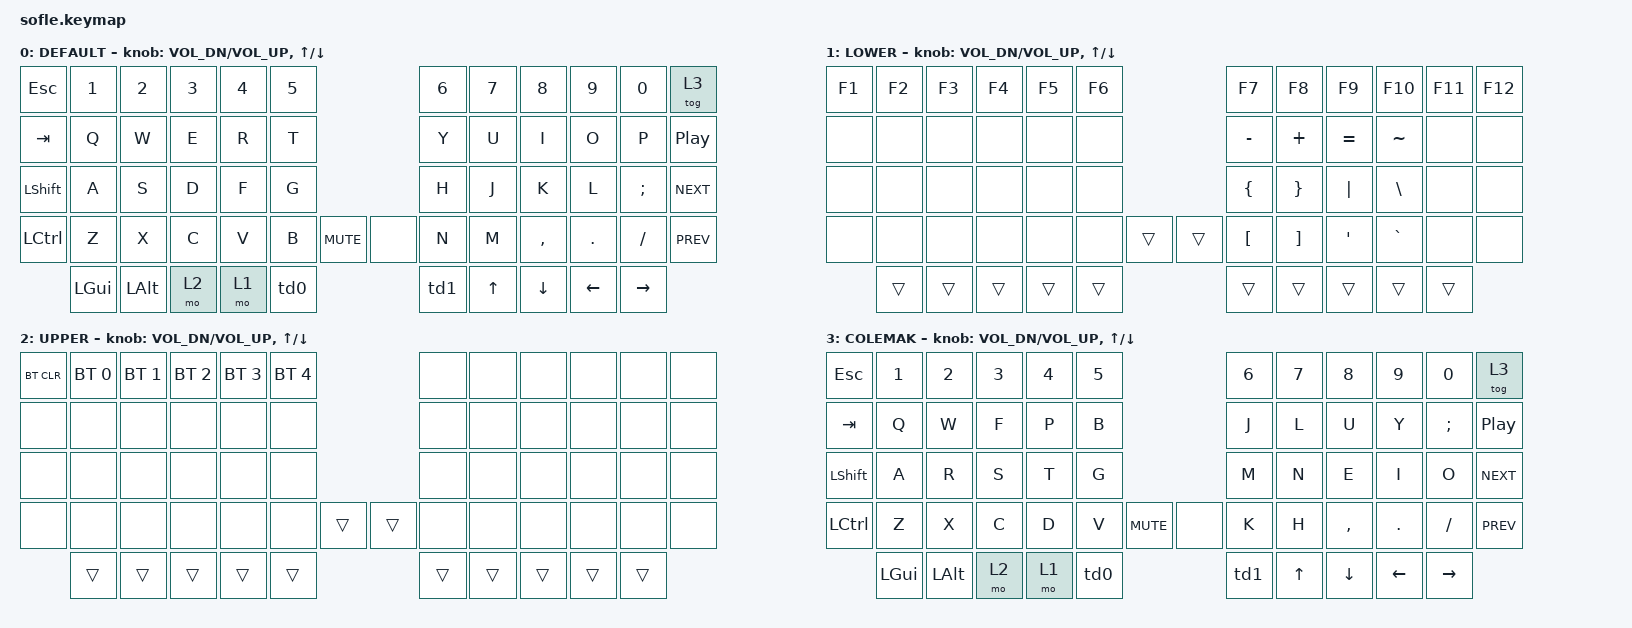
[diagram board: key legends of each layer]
/*
 * Copyright (c) 2020 The ZMK Contributors
 *
 * SPDX-License-Identifier: MIT
 */

#include <behaviors.dtsi>
#include <dt-bindings/zmk/keys.h>
#include <dt-bindings/zmk/bt.h>

&left_encoder { resolution = <2>; };
&right_encoder { resolution = <2>; };

#define DEFAULT  0
#define LOWER   1
#define UPPER   2
#define COLEMAK   3

&mt {
    tapping-term-ms = <300>;
};

/ {
    behaviors {
        td0: tap_dance_0 {
            compatible = "zmk,behavior-tap-dance";
            label = "TAP_DANCE_0";
            #binding-cells = <0>;
            tapping-term-ms = <250>;
            bindings = <&kp SPACE>, <&kp DEL>;
        };

        td1: tap_dance_1 {
            compatible = "zmk,behavior-tap-dance";
            label = "TAP_DANCE_1";
            #binding-cells = <0>;
            tapping-term-ms = <250>;
            bindings = <&kp BSPC>, <&kp RET>;
        };
    };

    keymap {
        compatible = "zmk,keymap";

        DEFAULT  {
// ------------------------------------------------------------------------------------------------------------
// |  ESC    |  1  |  2  |  3   |  4   |  5   |                                    |  6   |  7    |  8    |  9   |   0   | L3    |
// |  TAB    |  Q  |  W  |  E   |  R   |  T   |                                    |  Y   |  U    |  I    |  O   |   P   | PLAY  |
// |  SHIFT  |  A  |  S  |  D   |  F   |  G   |                                    |  H   |  J    |  K    |  L   |   ;   | NEXT  |
// |  LCTRL  |  Z  |  X  |  C   |  V   |  B   |  MUTE  |            |              |  N   |  M    |  ,    |  .   |   /   | PREV  |
//           | GUI | ALT | L2   | L1   | SPACE|                                    |BKSPC |  UP   | DOWN  | LEFT | RIGHT |
            bindings = <
&kp ESC     &kp N1  &kp N2   &kp N3   &kp N4    &kp N5                              &kp N6      &kp N7    &kp N8    &kp N9   &kp N0   &tog 3
&kp TAB     &kp Q   &kp W    &kp E    &kp R     &kp T                               &kp Y       &kp U     &kp I     &kp O    &kp P    &kp C_PP
&kp LSHFT   &kp A   &kp S    &kp D    &kp F     &kp G                               &kp H       &kp J     &kp K     &kp L    &kp SEMI &kp C_NEXT
&kp LCTRL   &kp Z   &kp X    &kp C    &kp V     &kp B  &kp C_MUTE &none             &kp N       &kp M     &kp COMMA &kp DOT  &kp FSLH &kp C_PREV
        &kp LGUI    &kp LALT &mo 2    &mo 1     &td0                                &td1        &kp UP    &kp DOWN  &kp LEFT &kp RIGHT
            >;

            sensor-bindings = <&inc_dec_kp C_VOL_DN C_VOL_UP &inc_dec_kp UP DOWN>;
        };

        LOWER {
// TODO: Some binds are waiting for shifted keycode support.
// ------------------------------------------------------------------------------------------------------------
// |   F1  |  F2 |  F3 |  F4  |  F5  |  F6  |                       |  F7  |  F8   |  F9   |  F10 |  F11 |  F12 |
// |       |     |     |      |      |      |                       |   -  |   +   |   =   |   ~  |      |      |
// |       |     |     |      |      |      |                       |  {   |  }    |   |   |   \  |      |      | 
// |       |     |     |      |      |      |        |      |       |  [   |  ]    |   ,   |   `  |      |      |
//               |     |      |      |      |        |      |       |      |       |       |      |
            bindings = <
&kp F1  &kp F2  &kp F3  &kp F4  &kp F5  &kp F6                       &kp F7    &kp F8      &kp F9      &kp F10     &kp F11     &kp F12
&none   &none   &none   &none   &none   &none                        &kp MINUS &kp PLUS    &kp EQUAL   &kp TILDE   &none       &none
&none   &none   &none   &none   &none   &none                        &kp LBRC  &kp RBRC    &kp PIPE    &kp BSLH    &none       &none
&none   &none   &none   &none   &none   &none  &trans       &trans   &kp LBKT  &kp RBKT    &kp APOS    &kp GRAVE   &none       &none
        &trans  &trans  &trans  &trans  &trans                       &trans    &trans      &trans      &trans      &trans
            >;

            sensor-bindings = <&inc_dec_kp C_VOL_DN C_VOL_UP &inc_dec_kp UP DOWN>;
        };

        UPPER {
// ------------------------------------------------------------------------------------------------------------
// |BTCLR| BT1  | BT2  |  BT3  |  BT4  |  BT5 |                |      |      |       |      |       |       |
// |     |      |      |       |       |      |                |      |      |       |      |       |       |
// |     |      |      |       |       |      |                |      |      |       |      |       |       |
// |     |      |      |       |       |      |      |  |      |      |      |       |      |       |       |
//              |      |       |       |      |      |  |      |      |      |       |      |
            bindings = <
&bt BT_CLR  &bt BT_SEL 0    &bt BT_SEL 1    &bt BT_SEL 2    &bt BT_SEL 3    &bt BT_SEL 4                 &none   &none   &none   &none   &none   &none 
&none       &none           &none           &none           &none           &none                        &none   &none   &none   &none   &none   &none 
&none       &none           &none           &none           &none           &none                        &none   &none   &none   &none   &none   &none 
&none       &none           &none           &none           &none           &none   &trans      &trans   &none   &none   &none   &none   &none   &none
            &trans          &trans          &trans          &trans          &trans                       &trans  &trans  &trans  &trans  &trans
            >;

            sensor-bindings = <&inc_dec_kp C_VOL_DN C_VOL_UP &inc_dec_kp UP DOWN>;
        };

        COLEMAK  {
// ------------------------------------------------------------------------------------------------------------
// |  ESC    |  1  |  2  |  3   |  4   |  5   |                                    |  6   |  7    |  8    |  9   |   0   | L3    |
// |  TAB    |  Q  |  W  |  F   |  P   |  B   |                                    |  J   |  L    |  U    |  Y   |   ;   | PLAY  |
// |  SHIFT  |  A  |  R  |  S   |  T   |  G   |                                    |  M   |  N    |  E    |  I   |   O   | NEXT  |
// |  LCTRL  |  Z  |  X  |  C   |  D   |  V   |  MUTE  |            |              |  K   |  H    |  ,    |  .   |   /   | PREV  |
//           | GUI | ALT | CTRL | L FN | SPACE|                                    |BKSPC |  UP   | DOWN  | LEFT | RIGHT |
            bindings = <
&kp ESC     &kp N1  &kp N2   &kp N3   &kp N4    &kp N5                              &kp N6      &kp N7    &kp N8    &kp N9   &kp N0     &tog 3
&kp TAB     &kp Q   &kp W    &kp F    &kp P     &kp B                               &kp J       &kp L     &kp U     &kp Y    &kp SEMI   &kp C_PP
&kp LSHFT   &kp A   &kp R    &kp S    &kp T     &kp G                               &kp M       &kp N     &kp E     &kp I    &kp O      &kp C_NEXT
&kp LCTRL   &kp Z   &kp X    &kp C    &kp D     &kp V  &kp C_MUTE &none             &kp K       &kp H     &kp COMMA &kp DOT  &kp FSLH   &kp C_PREV
        &kp LGUI    &kp LALT &mo 2    &mo 1     &td0                                &td1        &kp UP    &kp DOWN  &kp LEFT &kp RIGHT
            >;

            sensor-bindings = <&inc_dec_kp C_VOL_DN C_VOL_UP &inc_dec_kp UP DOWN>;
        };
    };
};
